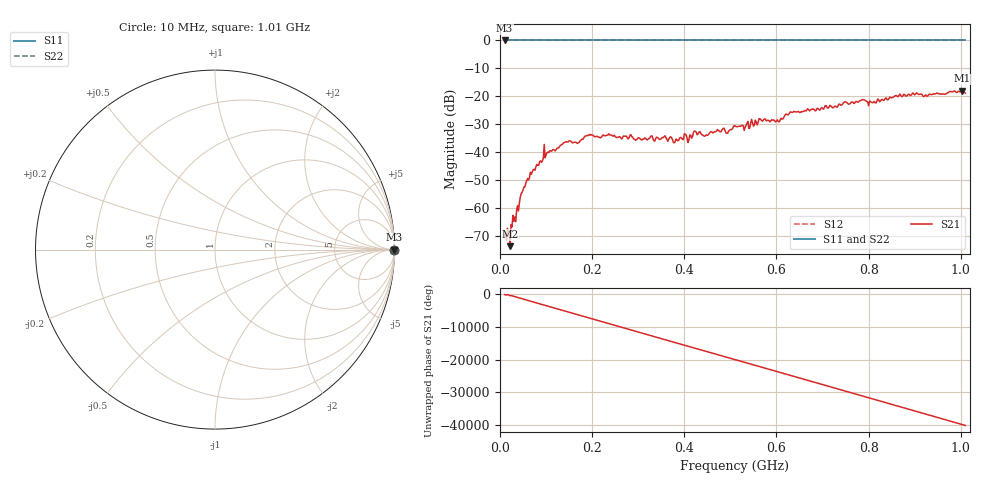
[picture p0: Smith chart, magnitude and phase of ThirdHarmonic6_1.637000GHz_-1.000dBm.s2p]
! 8/16/2025 7:34:49 PM
! C:\ANRITSUVNA\TEMP\TEMP.S2P
! CHANNEL.1
! TR.MEASUREMENT
! RAW.DATA
! RF.CORRECTION.OFF
! AVERAGING.OFF
! IF.BANDWIDTH: 5KHZ
! SWEEPTYPE:  FREQ.SWEEP(Linear)
! Reference Plane Port Info
! PORT:  PORT1  PORT2
! DISTANCE:  0  m  0  m
! TIME:  0  s  0  s
! PHASE.OFFSET:  0  deg.  0  deg.
! LOSS:  0  dB  0  dB
! REF.LOSS:  0  dB  0  dB
! REF.FREQ:  0  Hz  0  Hz
! Power Info
! POWER:  -20  dBm  -20  dBm
! EFF.POWER:  -20  dBm  -20  dBm
! SOURCE.ATTEN:  0  dB  0  dB
! TEST.ATTEN:  0  dB  0  dB
# GHZ S RI R 50.0
! FREQ.GHZ  S11RE  S11IM  S21RE  S21IM  S12RE  S12IM  S22RE  S22IM
!; PortSelection: Port_12
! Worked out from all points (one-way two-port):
!   501 points, 10 MHz to 1.01 GHz, reference 50 ohm
!   highest |S21| = -17.99 dB at 1.002 GHz (marker M1); lowest = -73.6 dB at 22 MHz (marker M2)
!   lowest |S11| = 0.0 dB at 10 MHz (marker M3)
!   |S11| at or under -10 dB: nowhere
!   |S22| runs from 0.0 to 0.0 dB; largest |S21 - S12| = 1.1
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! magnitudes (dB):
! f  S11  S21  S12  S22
! 10 MHz  0.0  -69.7  0.0  0.0
! 22 MHz  0.0  -73.6  0.0  0.0
! 56 MHz  0.0  -51.0  0.0  0.0
! 100 MHz  0.0  -40.9  0.0  0.0
! 142 MHz  0.0  -36.4  0.0  0.0
! 178 MHz  0.0  -35.3  0.0  0.0
! 198 MHz  0.0  -33.7  0.0  0.0
! 344 MHz  0.0  -35.1  0.0  0.0
! 380 MHz  0.0  -36.2  0.0  0.0
! 412 MHz  0.0  -33.8  0.0  0.0
! 424 MHz  0.0  -32.4  0.0  0.0
! 446 MHz  0.0  -34.1  0.0  0.0
! 484 MHz  0.0  -31.5  0.0  0.0
! 494 MHz  0.0  -33.2  0.0  0.0
! 510 MHz  0.0  -30.5  0.0  0.0
! 566 MHz  0.0  -28.3  0.0  0.0
! 602 MHz  0.0  -28.4  0.0  0.0
! 634 MHz  0.0  -25.7  0.0  0.0
! 678 MHz  0.0  -24.5  0.0  0.0
! 844 MHz  0.0  -20.8  0.0  0.0
! 1.002 GHz  0.0  -18.0  0.0  0.0
! 1.01 GHz  0.0  -18.9  0.0  0.0
